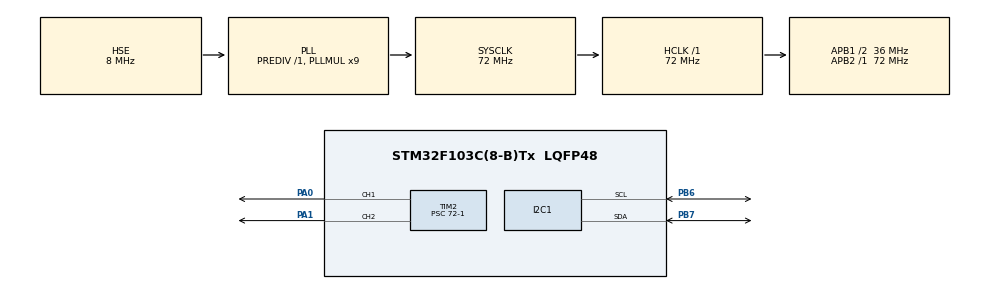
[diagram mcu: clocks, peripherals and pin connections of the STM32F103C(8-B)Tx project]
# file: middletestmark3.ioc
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Mcu.Family=STM32F1
Mcu.Name=STM32F103C(8-B)Tx
Mcu.Package=LQFP48
NVIC.PriorityGroup=NVIC_PRIORITYGROUP_4
PA0-WKUP.Signal=S_TIM2_CH1_ETR
PA1.Signal=S_TIM2_CH2
PA13.Mode=Serial_Wire
PA13.Signal=SYS_JTMS-SWDIO
PA14.Mode=Serial_Wire
PA14.Signal=SYS_JTCK-SWCLK
PB6.Mode=I2C
PB6.Signal=I2C1_SCL
PB7.Mode=I2C
PB7.Signal=I2C1_SDA
PD0-OSC_IN.Mode=HSE-External-Oscillator
PD0-OSC_IN.Signal=RCC_OSC_IN
PD1-OSC_OUT.Mode=HSE-External-Oscillator
PD1-OSC_OUT.Signal=RCC_OSC_OUT
ProjectManager.HeapSize=0x200
ProjectManager.StackSize=0x400
ProjectManager.TargetToolchain=CMake
RCC.AHBFreq_Value=72000000
RCC.APB1CLKDivider=RCC_HCLK_DIV2
RCC.APB1Freq_Value=36000000
RCC.APB1TimFreq_Value=72000000
RCC.APB2Freq_Value=72000000
RCC.APB2TimFreq_Value=72000000
RCC.HCLKFreq_Value=72000000
RCC.PLLMUL=RCC_PLL_MUL9
RCC.PLLSourceVirtual=RCC_PLLSOURCE_HSE
RCC.SYSCLKFreq_VALUE=72000000
RCC.SYSCLKSource=RCC_SYSCLKSOURCE_PLLCLK
RCC.USBFreq_Value=72000000
SH.S_TIM2_CH1_ETR.0=TIM2_CH1,PWM Generation1 CH1
SH.S_TIM2_CH2.0=TIM2_CH2,PWM Generation2 CH2
TIM2.Channel-PWM\ Generation1\ CH1=TIM_CHANNEL_1
TIM2.Channel-PWM\ Generation2\ CH2=TIM_CHANNEL_2
TIM2.Period=20000-1
TIM2.Prescaler=72-1
board=custom

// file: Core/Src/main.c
/* USER CODE BEGIN Header */
/**
  ******************************************************************************
  * @file           : main.c
  * @brief          : Main program body
  ******************************************************************************
  * @attention
  *
  * Copyright (c) 2025 STMicroelectronics.
  * All rights reserved.
  *
  * This software is licensed under terms that can be found in the LICENSE file
  * in the root directory of this software component.
  * If no LICENSE file comes with this software, it is provided AS-IS.
  *
  ******************************************************************************
  */
/* USER CODE END Header */
#include "main.h"
#include "i2c.h"
#include "tim.h"
#include "gpio.h"

/* USER CODE BEGIN Includes */
#include "../../app/Inc/mpu6050.h"
#include "mahony.h"
#include "servo.h"
#include "pid.h"

/* USER CODE END Includes */
//开源者说的话：这个项目里其实没有用到pid控制函数，所以扒库的时候没必要扒pid
//pid算法在这里就是垃圾，就没有步进好使

/* USER CODE BEGIN PD */
#define PITCH_CENTER 90.0f//这里定义了关于舵机机械中位的地方
//其实不用宏定义也可以

/* USER CODE END PD */

/* USER CODE BEGIN PV */
/* IMU */
MPU6050_t mpu6050;
float ax,ay,az;
float gx,gy,gz;

/* 时间 */
static uint8_t i2c_fail_cnt = 0;
static uint32_t last_ctrl = 0;
static uint8_t imu_ok = 0;
//初始姿态平面的获取参数
static uint32_t imu_ok_since = 0;

/* === Yaw drift calibration + hold (merge from classmate) === */
static uint8_t  yaw_calib_state = 0;    // 0未开始 1已取点1 2点取点2，3完成补偿解算
static uint32_t yaw_t0 = 0;
static uint32_t yaw_t1 = 0, yaw_t2 = 0;
static float    yaw_y1 = 0.0f, yaw_y2 = 0.0f;

static float    yaw_k = 0.0f;           // 漂移斜率(度/毫秒)
static float    yaw_b = 0.0f;           // 截距(度)

static uint8_t  yaw_locked = 0;
static float    yaw0 = 0.0f;            // 锁定目标 yaw（补偿后）
static float    yaw_servo_angle = 90.0f;//机械中位

const float yaw_deadband_deg = 5.0f;   // 死区（度）
const float yaw_step_deg     = 1.0f;   // 每次调整的舵机角度步长（不用改了，很丝滑）
/* 舵机限幅 */
const float yaw_servo_min = 0.0f;
const float yaw_servo_max = 180.0f;

static float pitch_servo_angle = PITCH_CENTER;   // 作为pitch舵机机械中位
static float pitch0 = 0.0f;                      // 锁定参考pitch的平面
static uint8_t pitch_hold_locked = 0;

// 3) 参数：
const float deadband_deg = 3.0f;     // pitch一般可以比yaw小一点：1~3°（建议不要太大，可以自己调）
const float step_deg     = 0.4f;     // 每次舵机走0.5°，先小后大
const float servo_min    = 30.0f;     //因为在测试时会发生大规模到达限位，我缩小了控制范围
const float servo_max    = 150.0f;
/* USER CODE END PV */

void SystemClock_Config(void);

/* USER CODE BEGIN 0 */
float wrap180(float a) {
  while (a > 180.0f) a -= 360.0f;
  while (a < -180.0f) a += 360.0f;
  return a;
}//用于修正在yaw超过-180的补救措施

/* USER CODE END 0 */

int main(void)
{

  /* MCU Configuration--------------------------------------------------------*/

  /* Reset of all peripherals, Initializes the Flash interface and the Systick. */
  HAL_Init();

  /* Configure the system clock */
  SystemClock_Config();

  /* Initialize all configured peripherals */
  MX_GPIO_Init();
  MX_I2C1_Init();
  MX_TIM2_Init();
  /* USER CODE BEGIN 2 */
  MPU6050_Init(&hi2c1);

  Servo_Init(&htim2);

  for (int i=0;i<4;i++) {
    Servo_SetAngle(SERVO_PITCH,90.0f);
    Servo_SetAngle(SERVO_YAW, 90.0f);
  }//初始化使其到达机械限位

  HAL_Delay(500);

  uint32_t last=HAL_GetTick();
  last_ctrl = HAL_GetTick();
//时刻时间戳，一般用于计时
  /* USER CODE END 2 */

  /* Infinite loop */
  while (1) {

    /* USER CODE BEGIN 3 */
    if (HAL_GetTick() - last >= 5)   // 200Hz
    {
      uint32_t now = HAL_GetTick();
      float dt = (float)(now - last) / 1000.0f;
      last = now;

      if (MPU6050_Read_All(&hi2c1, &mpu6050) == HAL_OK)
      {
        i2c_fail_cnt = 0;
        imu_ok = 1;
        if (imu_ok_since == 0) imu_ok_since = HAL_GetTick();

        ax = mpu6050.Ax;
        ay = mpu6050.Ay;
        az = mpu6050.Az;

        gx = mpu6050.Gx;
        gy = mpu6050.Gy;
        gz = mpu6050.Gz;

        Mahony_Update(gx, gy, gz,
                      ax, ay, az,
                      dt);

      }
      else
      {
        i2c_fail_cnt++;
        imu_ok = 0;

        if (i2c_fail_cnt >= 3)
        {
          HAL_I2C_DeInit(&hi2c1);
          HAL_Delay(10);
          MX_I2C1_Init();
          i2c_fail_cnt = 0;
          continue;
        }
      }//这里一大坨是读数据以及将其i2c堵塞时恢复

    }

    if (imu_ok && (HAL_GetTick() - last_ctrl >= 10))   // 100Hz
    {
      last_ctrl = HAL_GetTick();

      //pitch控制区
        if (HAL_GetTick()-last_ctrl >= 1000&&!pitch_hold_locked) {//这个地方事实上是有问题的
          // 1) 第一次锁定参考
            pitch0 = pitch;
            pitch_servo_angle = PITCH_CENTER;
            pitch_hold_locked = 1;//事实上这里要修一下但是以我的参考平面刚好参考平面是pitch是0

        }

        //  计算误差（角度制）
        float err = pitch - pitch0;
        // 死区 + 步进
        if (err > deadband_deg) {
          pitch_servo_angle += step_deg;     // 方向反了就改成 +=//现在没问题这里不用改
        } else if (err < -deadband_deg) {
          pitch_servo_angle -= step_deg;     // 方向反了就改成 -=
        }

        //  限幅并输出
        if (pitch_servo_angle < servo_min) pitch_servo_angle = servo_min;
        if (pitch_servo_angle > servo_max) pitch_servo_angle = servo_max;

        Servo_SetAngle(SERVO_PITCH, pitch_servo_angle);//servo是写的一个根据角度控制ccr的函数库，这里可以用一下，
        //servo里有死区设置我没开

     //yaw控制部分
      /* 说明：
         - 依赖 Mahony 输出的 yaw
         - 标定：pitch_ref_locked 后开始，t0+5s取点1，t0+10s取点2，拟合线性漂移
         - 保持：锁定 yaw0，用 deadband + 步进角度调整 yaw 舵机
      */
      uint32_t now_ms = HAL_GetTick();

      /* 取 Mahony 当前 yaw */
      float yaw_now = yaw;
      yaw_now = wrap180(yaw_now);

      /* 1) 在 pitch 已锁定后启动 yaw 标定 */
      if ( yaw_calib_state == 0) {
        yaw_t0 = now_ms;
        yaw_calib_state = 1;
        yaw_locked = 0;

        /* 机械中位输出 */
        yaw_servo_angle = 90.0f;
        Servo_SetAngle(SERVO_YAW, yaw_servo_angle);
      }

      /* 2) 两点法拟合漂移：5s点1，10s点2 *///就是说用一个线性函数来拟合这个误差
      if (yaw_calib_state == 1 && (now_ms - yaw_t0) >= 5000) {
        yaw_t1 = now_ms;
        yaw_y1 = yaw_now;
        yaw_calib_state = 2;
      }
      else if (yaw_calib_state == 2 && (now_ms - yaw_t0) >= 10000) {
        yaw_t2 = now_ms;
        yaw_y2 = yaw_now;

        yaw_k = (yaw_y2 - yaw_y1) / (float)(yaw_t2 - yaw_t1);  // 度/ms
        yaw_b = yaw_y2 - yaw_k * (float)yaw_t2;

        yaw_calib_state = 3;
      }

      /* 3) 计算补偿后的 yaw（不改写原yaw） */
      float yaw_corr = yaw_now;
      if (yaw_calib_state == 3) {
        yaw_corr = yaw_now - (yaw_k * (float)now_ms + yaw_b);
        yaw_corr = wrap180(yaw_corr);
      }

      /* 4) 标定完成后锁定目标 yaw0 */
      if (yaw_calib_state == 3 && !yaw_locked) {
        yaw0 = yaw_corr;
        yaw_locked = 1;
      }

      /* 5) deadband + 步进角度的 yaw 保持控制 */
      if (yaw_locked) {
        float err = wrap180(yaw_corr - yaw0);

        /* 误差大于死区才动，避免抖动 */
        if (err > yaw_deadband_deg) {
          yaw_servo_angle -= yaw_step_deg;   // 方向若反了就改成 +=//这里是好的不用改
        }
        else if (err < -yaw_deadband_deg) {
          yaw_servo_angle += yaw_step_deg;   // 方向若反了就改成 -=
        }

        /* 限幅 */
        if (yaw_servo_angle < yaw_servo_min) yaw_servo_angle = yaw_servo_min;
        if (yaw_servo_angle > yaw_servo_max) yaw_servo_angle = yaw_servo_max;

        Servo_SetAngle(SERVO_YAW, yaw_servo_angle);
      }
      /* ===================== end of YAW control ===================== */

    }
  }

  /* USER CODE END 3 */
}

void SystemClock_Config(void)
{
  RCC_OscInitTypeDef RCC_OscInitStruct = {0};
  RCC_ClkInitTypeDef RCC_ClkInitStruct = {0};

  /** Initializes the RCC Oscillators according to the specified parameters
  * in the RCC_OscInitTypeDef structure.
  */
  RCC_OscInitStruct.OscillatorType = RCC_OSCILLATORTYPE_HSE;
  RCC_OscInitStruct.HSEState = RCC_HSE_ON;
  RCC_OscInitStruct.HSEPredivValue = RCC_HSE_PREDIV_DIV1;
  RCC_OscInitStruct.HSIState = RCC_HSI_ON;
  RCC_OscInitStruct.PLL.PLLState = RCC_PLL_ON;
  RCC_OscInitStruct.PLL.PLLSource = RCC_PLLSOURCE_HSE;
  RCC_OscInitStruct.PLL.PLLMUL = RCC_PLL_MUL9;
  if (HAL_RCC_OscConfig(&RCC_OscInitStruct) != HAL_OK)
  {
    Error_Handler();
  }

  /** Initializes the CPU, AHB and APB buses clocks
  */
  RCC_ClkInitStruct.ClockType = RCC_CLOCKTYPE_HCLK|RCC_CLOCKTYPE_SYSCLK
                              |RCC_CLOCKTYPE_PCLK1|RCC_CLOCKTYPE_PCLK2;
  RCC_ClkInitStruct.SYSCLKSource = RCC_SYSCLKSOURCE_PLLCLK;
  RCC_ClkInitStruct.AHBCLKDivider = RCC_SYSCLK_DIV1;
  RCC_ClkInitStruct.APB1CLKDivider = RCC_HCLK_DIV2;
  RCC_ClkInitStruct.APB2CLKDivider = RCC_HCLK_DIV1;

  if (HAL_RCC_ClockConfig(&RCC_ClkInitStruct, FLASH_LATENCY_2) != HAL_OK)
  {
    Error_Handler();
  }
}

void Error_Handler(void)
{
  __disable_irq();
  while (1)
  {
  }
}
